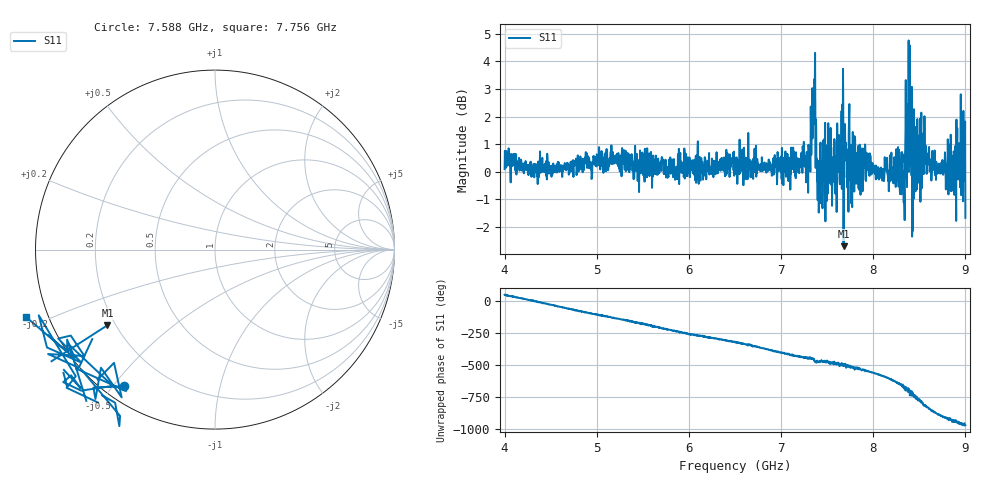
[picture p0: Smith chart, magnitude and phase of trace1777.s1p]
! Created with skrf 1.8.0 (http://scikit-rf.org).
# Hz S RI R 50.0
!freq ReS11 ImS11
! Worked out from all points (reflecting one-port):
!   1601 points, 4 GHz to 9 GHz, reference 50 ohm
!   lowest |S11| = -2.7 dB at 7.678 GHz (marker M1), VSWR 6.49, Z = 8.46 - j15.4 ohm
!   phase of S11 starts at 53 deg and turns -1021 deg over the sweep
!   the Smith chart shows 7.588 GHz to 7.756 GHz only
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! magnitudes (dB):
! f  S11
! 4 GHz  0.1
! 4.625 GHz  -0.2
! 5.25 GHz  0.0
! 5.875 GHz  -0.1
! 6.5 GHz  0.1
! 7.125 GHz  0.4
! 7.294 GHz  -0.8
! 7.347 GHz  1.6
! 7.375 GHz  0.1
! 7.397 GHz  -1.0
! 7.428 GHz  1.1
! 7.525 GHz  1.4
! 7.578 GHz  1.2
! 7.678 GHz  -2.7
! 7.703 GHz  0.4
! 7.75 GHz  -0.3
! 8.259 GHz  0.3
! 8.316 GHz  0.3
! 8.334 GHz  -0.4
! 8.347 GHz  0.8
! 8.375 GHz  1.4
! 8.394 GHz  0.6
! 8.412 GHz  0.7
! 8.447 GHz  1.6
! 8.497 GHz  0.9
! 8.841 GHz  1.3
! 8.972 GHz  0.4
! 9 GHz  -1.7
